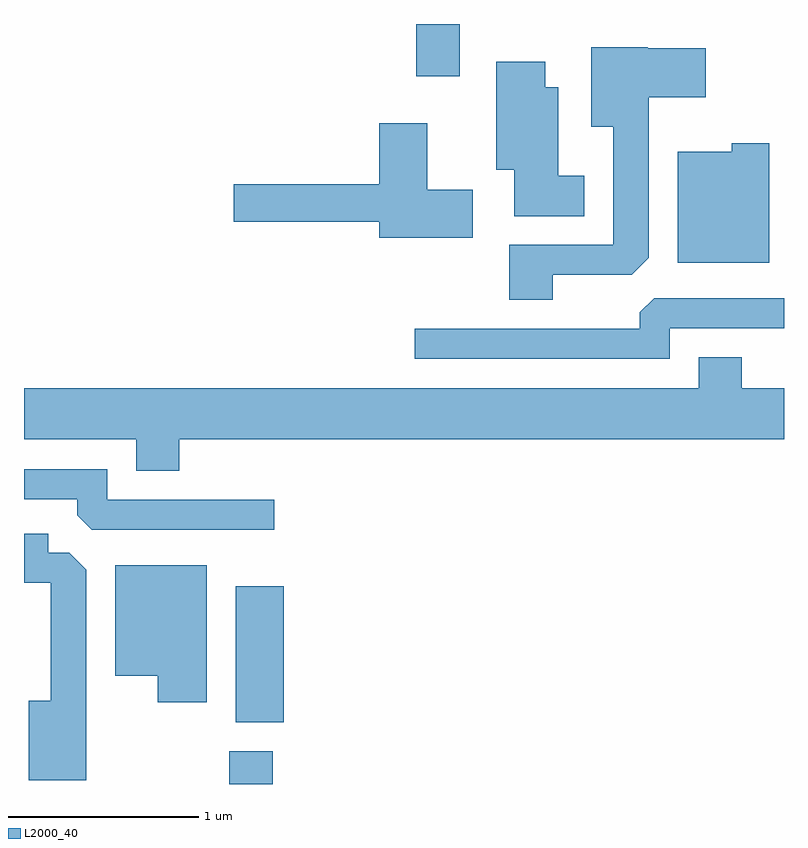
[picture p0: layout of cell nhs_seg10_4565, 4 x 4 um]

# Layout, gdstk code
import gdstk
lib = gdstk.Library(unit=1e-6, precision=1e-09)
def R(c, l, rs):  # rectangles x0, y0, x1, y1
    for r in rs: c.add(gdstk.rectangle(r[:2], r[2:], *l))
def P(c, l, *ps):  # polygons
    for p in ps: c.add(gdstk.Polygon(p, *l))
L2000_40 = (2000, 40)

nhs_seg10_4565 = lib.new_cell('nhs_seg10_4565')
R(nhs_seg10_4565, L2000_40, [(320.691,2136.522,320.919,2136.694), (320.726,2136.846,320.979,2137.564), (321.676,2140.246,321.904,2140.522)])
P(nhs_seg10_4565, L2000_40, [(322.394,2139.201),(322.809,2139.201),(322.899,2139.292),(322.899,2140.136),(323.199,2140.136),(323.199,2140.394),(322.895,2140.394),(322.895,2140.399),(322.596,2140.399),(322.596,2139.981),(322.711,2139.981),(322.711,2139.359),(322.166,2139.359),(322.166,2139.071),(322.394,2139.071)],
  [(322.559,2139.724),(322.424,2139.724),(322.424,2140.189),(322.354,2140.189),(322.354,2140.324),(322.096,2140.324),(322.096,2139.756),(322.191,2139.756),(322.191,2139.511),(322.559,2139.511)],
  [(321.974,2139.649),(321.734,2139.649),(321.734,2139.999),(321.481,2139.999),(321.481,2139.679),(320.716,2139.679),(320.716,2139.481),(321.481,2139.481),(321.481,2139.396),(321.974,2139.396)],
  [(323.534,2139.894),(323.336,2139.894),(323.336,2139.849),(323.051,2139.849),(323.051,2139.266),(323.534,2139.266)],
  [(323.009,2138.921),(323.611,2138.921),(323.611,2139.079),(322.927,2139.079),(322.851,2139.004),(322.851,2138.919),(321.668,2138.919),(321.668,2138.761),(323.009,2138.761)],
  [(320.429,2138.336),(323.611,2138.336),(323.611,2138.604),(323.389,2138.604),(323.389,2138.769),(323.161,2138.769),(323.161,2138.604),(319.611,2138.604),(319.611,2138.336),(320.201,2138.336),(320.201,2138.171),(320.429,2138.171)],
  [(320.928,2138.019),(320.049,2138.019),(320.049,2138.179),(319.611,2138.179),(319.611,2138.021),(319.891,2138.021),(319.891,2137.937),(319.967,2137.861),(320.928,2137.861)],
  [(319.939,2137.649),(319.849,2137.739),(319.739,2137.739),(319.739,2137.839),(319.611,2137.839),(319.611,2137.581),(319.751,2137.581),(319.751,2136.959),(319.636,2136.959),(319.636,2136.541),(319.939,2136.541)],
  [(320.574,2137.674),(320.091,2137.674),(320.091,2137.091),(320.316,2137.091),(320.316,2136.951),(320.574,2136.951)])

lib.write_gds('nhs_seg10_4565.gds')
